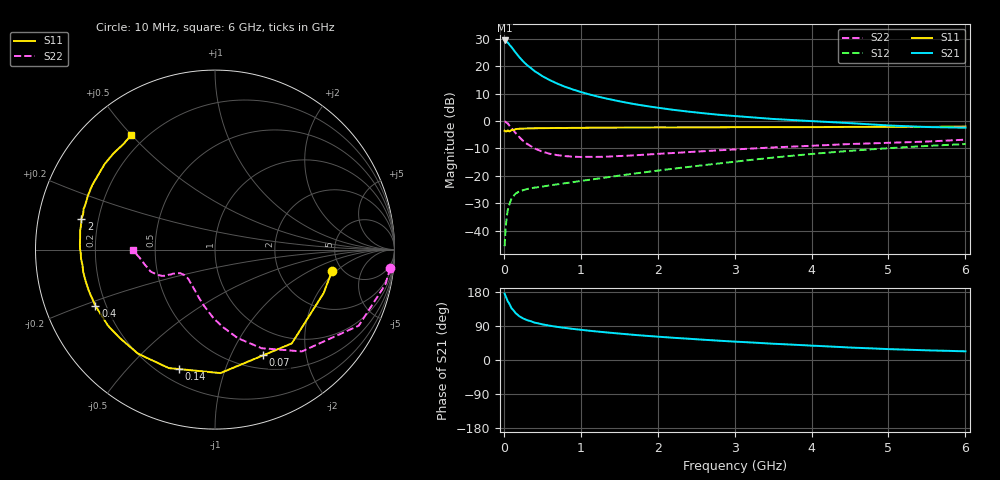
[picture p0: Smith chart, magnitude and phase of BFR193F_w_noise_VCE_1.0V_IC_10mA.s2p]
! Infineon Technologies  Discrete & RF Semiconductors
! BFR193F
! VCE =  1.0 V,  IC =  10 mA
! Common Emitter S-Parameters:  Jan 2017
# GHz  S  MA  R  50
!  f  S11  S21  S12  S22
! GHz  MAG  ANG  MAG  ANG  MAG  ANG  MAG  ANG
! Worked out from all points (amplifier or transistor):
!   77 points, 10 MHz to 6 GHz, reference 50 ohm
!   highest |S21| = 29.4 dB at 10 MHz (marker M1)
!   |S21| within 3 dB of that: start of sweep to 115.6 MHz
!   unconditionally stable (mu >= 1): 1.463 GHz to 3.156 GHz
!   at 130 MHz: K = 0.18, MSG = 26.5 dB, |S12| = -27.3 dB
!   at 2.2 GHz: K = 1.07, MAG = 9.1 dB, |S12| = -17.4 dB
!   at 6 GHz: K = 0.89, MSG = 3.0 dB, |S12| = -8.4 dB
!   lowest NFmin = 0.87 dB at 450 MHz
!   S11 on the Smith chart (normalised r, x): 10 MHz: 4.14, -1.76; 70 MHz: 0.66, -1.34; 140 MHz: 0.27, -0.71; 400 MHz: 0.16, -0.22; 2 GHz: 0.14, +0.11; 6 GHz: 0.15, +0.50
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0.01  0.6626 -10.4  29.37 175.4  0.0052 88.4  0.9818 -6.0
0.02  0.6521 -21.8  28.78 169.7  0.0094 82.8  0.9687 -11.6
0.05  0.6755 -50.7  27.08 155.5  0.0234 67.4  0.9061 -27.9
0.07  0.6473 -65.5  24.83 148.8  0.0293 60.2  0.8283 -35.5
0.1  0.6887 -87.5  22.25 136.6  0.0387 53.7  0.7458 -49.5
0.14  0.6951 -106.7  18.68 127.2  0.0451 45.9  0.6315 -61.1
0.15  0.7086 -111.3  17.88 124.3  0.0468 44.3  0.6079 -64.7
0.2  0.721 -126.4  14.65 115.7  0.052 39.6  0.5093 -75.6
0.25  0.724 -137.2  12.22 109.7  0.0545 36.5  0.4336 -84.2
0.3  0.7315 -144.6  10.49 105.3  0.0572 35.4  0.3834 -91.1
0.4  0.7362 -154.8  8.089 98.6  0.0608 35.2  0.3148 -101.9
0.5  0.7393 -161.5  6.567 94.1  0.0634 35.8  0.2754 -110.2
0.7  0.7449 -170.3  4.764 87.2  0.0699 39.9  0.2373 -122.4
0.9  0.7481 -176.1  3.736 82.0  0.0766 44.0  0.2226 -130.8
1.1  0.752 179.8  3.079 77.5  0.084 47.6  0.2214 -136.3
1.5  0.7568 173.3  2.287 69.8  0.1007 53.6  0.2293 -143.8
2  0.764 166.9  1.744 61.6  0.1242 58.9  0.2509 -148.4
2.1  0.7623 165.9  1.669 60.2  0.1292 59.6  0.2554 -148.8
3.1  0.7694 156.1  1.2 47.5  0.1869 63.9  0.3071 -151.9
4.1  0.773 146.3  0.976 37.0  0.2565 62.7  0.3576 -157.6
5.1  0.7785 135.3  0.816 28.1  0.3246 57.8  0.4034 -169.0
6  0.7919 126.1  0.753 22.9  0.3791 52.6  0.4561 -179.5
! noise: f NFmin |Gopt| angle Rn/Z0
0.45  0.87  0.25  139  0.07
0.9  1  0.38  152  0.07
1.9  1.7  0.59  -176  0.06
2.4  2.05  0.63  -165  0.08
